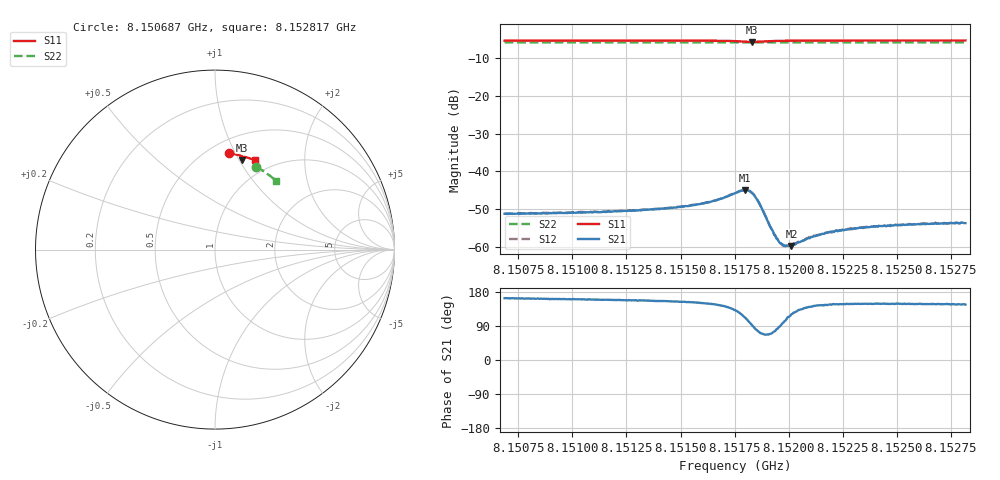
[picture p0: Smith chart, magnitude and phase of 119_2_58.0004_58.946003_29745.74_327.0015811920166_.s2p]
#  HZ  S  RI  R  50.00
! Rohde & Schwarz Vector Network Analyzer
! Rohde-Schwarz,ZNB20-2Port,1311601062101988,3.16
! Created: UTC 3/21/2024, 12:55:38 AM
! freq[Hz]  re:S11  im:S11  re:S21  im:S21  re:S12  im:S12  re:S22  im:S22
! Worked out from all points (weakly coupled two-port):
!   401 points, 8.150687 GHz to 8.152817 GHz, reference 50 ohm
!   highest |S21| = -44.92 dB at 8.1518 GHz (marker M1); lowest = -59.8 dB at 8.152013 GHz (marker M2)
!   lowest |S11| = -5.7 dB at 8.151832 GHz (marker M3), VSWR 3.18, Z = 37.6 + j51.5 ohm
!   |S11| at or under -10 dB: nowhere
!   |S22| runs from -5.8 to -5.8 dB; largest |S21 - S12| = 0.00013
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8.1506866e9  0.0807 0.536  -0.00263 0.000805  -0.00264 0.000846  0.2308 0.4603
8.1510434e9  0.1059 0.5322  -0.00266 0.00098  -0.0027 0.00107  0.2508 0.4493
8.1514002e9  0.1318 0.5266  -0.00289 0.00131  -0.00288 0.00136  0.2705 0.4369
8.1515973e9  0.1473 0.5215  -0.00324 0.00185  -0.00325 0.00191  0.2811 0.4299
8.1516771e9  0.1545 0.5176  -0.00349 0.00245  -0.00348 0.0025  0.2853 0.4268
8.1517517e9  0.1606 0.5098  -0.00343 0.00385  -0.0034 0.00394  0.2891 0.4238
8.1517996e9  0.1586 0.5008  -0.00204 0.00529  -0.00199 0.00532  0.2915 0.4218
8.1518156e9  0.1554 0.4987  -0.0011 0.00543  -0.00105 0.00547  0.2921 0.4213
8.1518316e9  0.1513 0.4988  -6.26e-05 0.00514  -2.51e-05 0.00517  0.2928 0.4208
8.1518476e9  0.1481 0.5011  0.000713 0.00446  0.000751 0.0045  0.2933 0.4203
8.1518635e9  0.1464 0.5045  0.00107 0.00363  0.00113 0.00366  0.2942 0.4198
8.1519221e9  0.1508 0.5136  0.000563 0.0016  0.000608 0.00156  0.2974 0.4181
8.1519541e9  0.1548 0.5154  7.71e-05 0.00118  9.65e-05 0.0012  0.2992 0.4168
8.15197e9  0.1566 0.5159  -0.000116 0.00108  -8.7e-05 0.00105  0.3 0.4163
8.1519807e9  0.1579 0.5161  -0.000219 0.00101  -0.00022 0.000999  0.3006 0.4159
8.1520126e9  0.1613 0.5162  -0.000528 0.000881  -0.000521 0.00092  0.3023 0.4147
8.1521085e9  0.1702 0.5153  -0.00105 0.000851  -0.00106 0.000838  0.3073 0.4108
8.1522097e9  0.1783 0.5134  -0.00133 0.000845  -0.00134 0.000924  0.3124 0.4068
8.1523588e9  0.1892 0.5102  -0.00154 0.000944  -0.00155 0.000988  0.3199 0.4008
8.1524653e9  0.1966 0.5078  -0.00164 0.00102  -0.00161 0.00101  0.3251 0.3963
8.1526251e9  0.2075 0.5036  -0.0017 0.00108  -0.00175 0.0011  0.3328 0.3897
8.1528168e9  0.2202 0.4988  -0.00172 0.00115  -0.00173 0.00118  0.3419 0.3815
